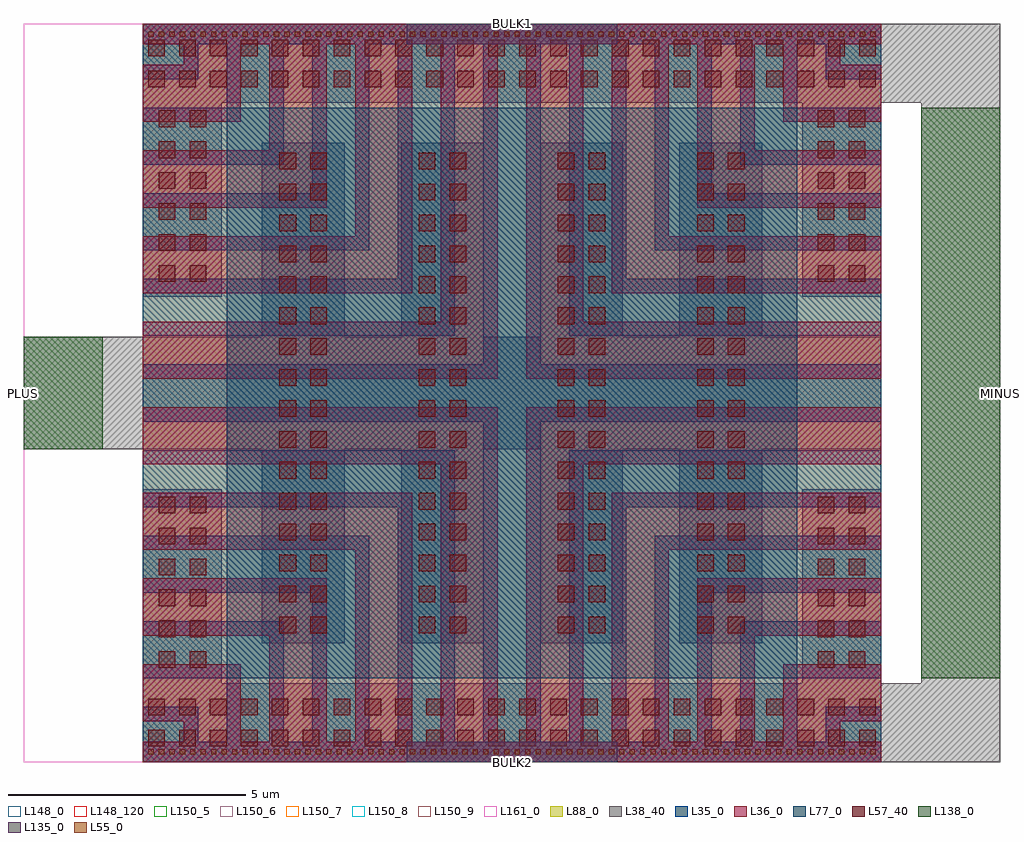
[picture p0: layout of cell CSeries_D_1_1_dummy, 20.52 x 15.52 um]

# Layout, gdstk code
import gdstk
lib = gdstk.Library(unit=1e-6, precision=1e-09)
def R(c, l, rs):  # rectangles x0, y0, x1, y1
    for r in rs: c.add(gdstk.rectangle(r[:2], r[2:], *l))
def A(c, l, x, y, w, h, nx, ny, dx, dy):  # array of equal rectangles
    R(c, l, [(x+i*dx, y+j*dy, x+i*dx+w, y+j*dy+h) for i in range(nx) for j in range(ny)])
def P(c, l, *ps):  # polygons
    for p in ps: c.add(gdstk.Polygon(p, *l))
L35_0 = (35, 0)
L36_0 = (36, 0)
L38_40 = (38, 40)
L55_0 = (55, 0)
L57_40 = (57, 40)
L77_0 = (77, 0)
L88_0 = (88, 0)
L135_0 = (135, 0)
L138_0 = (138, 0)
L148_0 = (148, 0)
L148_120 = (148, 120)
L150_5 = (150, 5)
L150_6 = (150, 6)
L150_7 = (150, 7)
L150_8 = (150, 8)
L150_9 = (150, 9)
L161_0 = (161, 0)

cseries_d_1_1_dummy = lib.new_cell('CSeries_D_1_1_dummy')
R(cseries_d_1_1_dummy, L35_0, [(-1.76,-1.76,-0.6,-1.2), (-1.76,-1.76,-0.6,-0.6), (-1.76,-1.76,13.76,-1.33), (0,-1.76,1.2,0.6), (1.8,-1.76,3,2.4), (3.6,-1.76,4.8,4.2), (5.4,-1.76,6.6,13.76), (7.2,-1.76,8.4,4.2), (9,-1.76,10.2,2.4), (10.8,-1.76,12,0.6), (12.6,-1.76,13.76,-1.2), (12.6,-1.76,13.76,-0.6), (-1.76,0,1.2,1.2), (10.8,0,13.76,1.2), (-1.76,1.8,3,3), (9,1.8,13.76,3), (-1.76,3.6,4.8,4.8), (7.2,3.6,13.76,4.8), (-1.76,5.4,13.76,6.6), (-1.76,7.2,4.8,8.4), (7.2,7.2,13.76,8.4), (3.6,7.8,4.8,13.76), (7.2,7.8,8.4,13.76), (-1.76,9,3,10.2), (9,9,13.76,10.2), (1.8,9.6,3,13.76), (9,9.6,10.2,13.76), (-1.76,10.8,1.2,12), (10.8,10.8,13.76,12), (0,11.4,1.2,13.76), (10.8,11.4,12,13.76), (-1.76,12.6,-0.6,13.76), (12.6,12.6,13.76,13.76), (-1.76,13.2,-0.6,13.76), (12.6,13.2,13.76,13.76), (-1.76,13.33,13.76,13.76)])
R(cseries_d_1_1_dummy, L36_0, [(-1.76,-1.76,13.76,-1.33), (-0.9,-1.76,0.3,-0.3), (0.9,-1.76,2.1,1.5), (2.7,-1.76,3.9,3.3), (4.5,-1.76,5.7,5.1), (6.3,-1.76,7.5,5.1), (8.1,-1.76,9.3,3.3), (9.9,-1.76,11.1,1.5), (11.7,-1.76,12.9,-0.3), (-1.76,-0.9,0.3,0.3), (11.7,-0.9,13.76,0.3), (-1.76,0.9,2.1,2.1), (9.9,0.9,13.76,2.1), (-1.76,2.7,3.9,3.9), (8.1,2.7,13.76,3.9), (-1.76,4.5,5.7,5.7), (6.3,4.5,13.76,5.7), (-1.76,6.3,5.7,7.5), (6.3,6.3,13.76,7.5), (4.5,6.9,5.7,13.76), (6.3,6.9,7.5,13.76), (-1.76,8.1,3.9,9.3), (8.1,8.1,13.76,9.3), (2.7,8.7,3.9,13.76), (8.1,8.7,9.3,13.76), (-1.76,9.9,2.1,11.1), (9.9,9.9,13.76,11.1), (0.9,10.5,2.1,13.76), (9.9,10.5,11.1,13.76), (-1.76,11.7,0.3,12.9), (11.7,11.7,13.76,12.9), (-0.9,12.3,0.3,13.76), (11.7,12.3,12.9,13.76), (-1.76,13.33,13.76,13.76)])
R(cseries_d_1_1_dummy, L38_40, [(13.76,-1.76,16.26,-0.1), (14.6,-1.76,16.26,13.76), (0.74,0.74,2.48,4.82), (3.667,0.74,5.407,4.82), (6.593,0.74,8.333,4.82), (9.52,0.74,11.26,4.82), (-4.26,4.82,13.76,7.18), (0.74,7.18,2.48,11.26), (0.74,7.18,2.48,11.26), (3.667,7.18,5.407,11.26), (3.667,7.18,5.407,11.26), (6.593,7.18,8.333,11.26), (6.593,7.18,8.333,11.26), (9.52,7.18,11.26,11.26), (9.52,7.18,11.26,11.26), (13.76,12.1,16.26,13.76)])
P(cseries_d_1_1_dummy, L38_40, [(-0.1,12.1),(12.1,12.1),(12.1,8.02),(13.76,8.02),(13.76,13.76),(-1.76,13.76),(-1.76,8.02),(-0.1,8.02)],
  [(-1.76,3.98),(-1.76,-1.76),(13.76,-1.76),(13.76,3.98),(12.1,3.98),(12.1,-0.1),(-0.1,-0.1),(-0.1,3.98)])
A(cseries_d_1_1_dummy, L55_0, -1.645, -1.6, 0.11, 0.11, 70, 2, 0.22, 15.09)
A(cseries_d_1_1_dummy, L57_40, -1.65, -1.43, 0.35, 0.35, 24, 2, 0.65, 0.65)
A(cseries_d_1_1_dummy, L57_40, -1.43, 0.22, 0.35, 0.35, 1, 6, 0, 0.65)
A(cseries_d_1_1_dummy, L57_40, -0.78, 0.22, 0.35, 0.35, 1, 6, 0, 0.65)
A(cseries_d_1_1_dummy, L57_40, 12.43, 0.22, 0.35, 0.35, 1, 6, 0, 0.65)
A(cseries_d_1_1_dummy, L57_40, 13.08, 0.22, 0.35, 0.35, 1, 6, 0, 0.65)
A(cseries_d_1_1_dummy, L57_40, 1.11, 0.95, 0.35, 0.35, 1, 16, 0, 0.65)
A(cseries_d_1_1_dummy, L57_40, 1.76, 0.95, 0.35, 0.35, 1, 16, 0, 0.65)
A(cseries_d_1_1_dummy, L57_40, 4.037, 0.95, 0.35, 0.35, 1, 16, 0, 0.65)
A(cseries_d_1_1_dummy, L57_40, 4.687, 0.95, 0.35, 0.35, 1, 16, 0, 0.65)
A(cseries_d_1_1_dummy, L57_40, 6.963, 0.95, 0.35, 0.35, 1, 16, 0, 0.65)
A(cseries_d_1_1_dummy, L57_40, 7.613, 0.95, 0.35, 0.35, 1, 16, 0, 0.65)
A(cseries_d_1_1_dummy, L57_40, 9.89, 0.95, 0.35, 0.35, 1, 16, 0, 0.65)
A(cseries_d_1_1_dummy, L57_40, 10.54, 0.95, 0.35, 0.35, 1, 16, 0, 0.65)
A(cseries_d_1_1_dummy, L57_40, -1.43, 8.34, 0.35, 0.35, 1, 6, 0, 0.65)
A(cseries_d_1_1_dummy, L57_40, -0.78, 8.34, 0.35, 0.35, 1, 6, 0, 0.65)
A(cseries_d_1_1_dummy, L57_40, 12.43, 8.34, 0.35, 0.35, 1, 6, 0, 0.65)
A(cseries_d_1_1_dummy, L57_40, 13.08, 8.34, 0.35, 0.35, 1, 6, 0, 0.65)
A(cseries_d_1_1_dummy, L57_40, -1.65, 12.43, 0.35, 0.35, 24, 2, 0.65, 0.65)
R(cseries_d_1_1_dummy, L77_0, [(0,0,12,12)])
R(cseries_d_1_1_dummy, L88_0, [(-1.76,-1.76,13.76,13.76)])
R(cseries_d_1_1_dummy, L135_0, [(3.785,-1.76,8.215,-1.33), (3.785,13.33,8.215,13.76)])
R(cseries_d_1_1_dummy, L138_0, [(14.6,0,16.26,12), (-4.26,4.82,-2.6,7.18)])
R(cseries_d_1_1_dummy, L148_0, [(-4.26,-1.76,16.26,13.76)])
R(cseries_d_1_1_dummy, L148_120, [(-4.26,-1.76,16.26,13.76)])
R(cseries_d_1_1_dummy, L150_5, [(-4.26,-1.76,16.26,13.76)])
R(cseries_d_1_1_dummy, L150_6, [(-4.26,-1.76,16.26,13.76)])
R(cseries_d_1_1_dummy, L150_7, [(-4.26,-1.76,16.26,13.76)])
R(cseries_d_1_1_dummy, L150_8, [(-4.26,-1.76,16.26,13.76)])
R(cseries_d_1_1_dummy, L150_9, [(-4.26,-1.76,16.26,13.76)])
R(cseries_d_1_1_dummy, L161_0, [(-4.26,-1.76,16.26,13.76)])
cseries_d_1_1_dummy.add(gdstk.Label('BULK1', (6,13.76), layer=135, texttype=0))
cseries_d_1_1_dummy.add(gdstk.Label('BULK2', (6,-1.76), layer=135, texttype=0))
cseries_d_1_1_dummy.add(gdstk.Label('PLUS', (-4.26,6), layer=138, texttype=0))
cseries_d_1_1_dummy.add(gdstk.Label('MINUS', (16.26,6), layer=138, texttype=0))

lib.write_gds('CSeries_D_1_1_dummy.gds')
